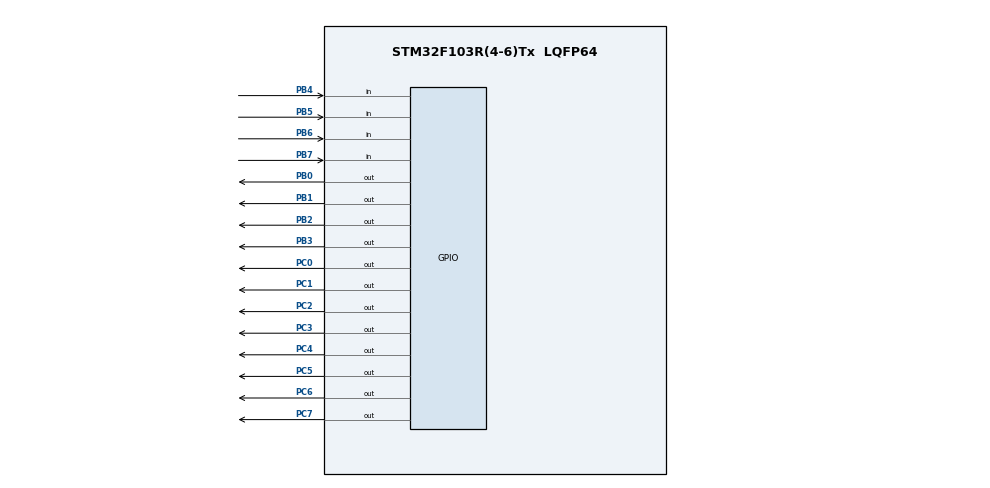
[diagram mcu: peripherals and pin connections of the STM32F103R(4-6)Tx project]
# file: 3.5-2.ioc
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Mcu.Family=STM32F1
Mcu.Name=STM32F103R(4-6)Tx
Mcu.Package=LQFP64
NVIC.PriorityGroup=NVIC_PRIORITYGROUP_4
PB0.PinState=GPIO_PIN_SET
PB0.Signal=GPIO_Output
PB1.PinState=GPIO_PIN_SET
PB1.Signal=GPIO_Output
PB2.PinState=GPIO_PIN_SET
PB2.Signal=GPIO_Output
PB3.PinState=GPIO_PIN_SET
PB3.Signal=GPIO_Output
PB4.Signal=GPIO_Input
PB5.Signal=GPIO_Input
PB6.Signal=GPIO_Input
PB7.Signal=GPIO_Input
PC0.PinState=GPIO_PIN_SET
PC0.Signal=GPIO_Output
PC1.PinState=GPIO_PIN_SET
PC1.Signal=GPIO_Output
PC2.PinState=GPIO_PIN_SET
PC2.Signal=GPIO_Output
PC3.PinState=GPIO_PIN_SET
PC3.Signal=GPIO_Output
PC4.PinState=GPIO_PIN_SET
PC4.Signal=GPIO_Output
PC5.PinState=GPIO_PIN_SET
PC5.Signal=GPIO_Output
PC6.PinState=GPIO_PIN_SET
PC6.Signal=GPIO_Output
PC7.PinState=GPIO_PIN_SET
PC7.Signal=GPIO_Output
ProjectManager.HeapSize=0x200
ProjectManager.StackSize=0x400
ProjectManager.TargetToolchain=STM32CubeIDE
RCC.APB1Freq_Value=8000000
RCC.APB2Freq_Value=8000000
VP_SYS_VS_ND.Mode=No_Debug
board=custom

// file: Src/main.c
/* USER CODE BEGIN Header */
/**
  ******************************************************************************
  * @file           : main.c
  * @brief          : Main program body
  ******************************************************************************
  * @attention
  *
  * <h2><center>&copy; Copyright (c) 2019 STMicroelectronics.
  * All rights reserved.</center></h2>
  *
  * This software component is licensed by ST under BSD 3-Clause license,
  * the "License"; You may not use this file except in compliance with the
  * License. You may obtain a copy of the License at:
  *                        opensource.org/licenses/BSD-3-Clause
  *
  ******************************************************************************
  */
/* USER CODE END Header */

#include "main.h"

/* USER CODE BEGIN PV */
//共阳极数码管0~f的段码
const uint8_t SegmentCodes[]=
{
0xc0,0xf9,0xa4,0xb0,0x99,
0x92,0x82,0xf8,0x80,0x90,
0x88,0x83,0xc6,0xa1,0x86,0x8e
};
/* USER CODE END PV */

void SystemClock_Config(void);
static void MX_GPIO_Init(void);

int main(void)
{
  /* USER CODE BEGIN 1 */
	int8_t i;  //循环变量
	uint8_t KeyValue=0x10;  //按下的键码
	uint8_t ReadPB;  //读取PB端口的值
  /* USER CODE END 1 */

  /* MCU Configuration--------------------------------------------------------*/

  /* Reset of all peripherals, Initializes the Flash interface and the Systick. */
  HAL_Init();

  /* Configure the system clock */
  SystemClock_Config();

  /* Initialize all configured peripherals */
  MX_GPIO_Init();
  /* USER CODE BEGIN 2 */
  LL_GPIO_WriteOutputPort(GPIOC,0xff);
  /* USER CODE END 2 */

  /* Infinite loop */
  /* USER CODE BEGIN WHILE */
  while (1)
  {
	  for(i=0;i<4;i++)
	  {
		  LL_GPIO_WriteOutputPort(GPIOB,(0xfe<<i)|(0xfe>>(8-i)));
		  ReadPB=LL_GPIO_ReadInputPort(GPIOB);
		  if((ReadPB & 0xf0) != 0xf0)
		  {
			  HAL_Delay(20);
			  ReadPB=LL_GPIO_ReadInputPort(GPIOB);
			  if((ReadPB & 0xf0) != 0xf0)
			  {
				  switch(ReadPB & 0xf0)
				  {
				  case 0xe0:KeyValue=4*i  ;break;
				  case 0xd0:KeyValue=4*i+1;break;
				  case 0xb0:KeyValue=4*i+2;break;
				  case 0x70:KeyValue=4*i+3;break;
				  default:;
				  }
			  }
			  do
				  ReadPB=LL_GPIO_ReadInputPort(GPIOB);
			  while((ReadPB & 0xf0) != 0xf0);
			  HAL_Delay(20);
		  }
	  }
	  if(KeyValue>=0 && KeyValue<=0xf)
		  LL_GPIO_WriteOutputPort(GPIOC,SegmentCodes[KeyValue]);
    /* USER CODE END WHILE */

  }
}

void SystemClock_Config(void)
{
  RCC_OscInitTypeDef RCC_OscInitStruct = {0};
  RCC_ClkInitTypeDef RCC_ClkInitStruct = {0};

  /** Initializes the CPU, AHB and APB busses clocks
  */
  RCC_OscInitStruct.OscillatorType = RCC_OSCILLATORTYPE_HSI;
  RCC_OscInitStruct.HSIState = RCC_HSI_ON;
  RCC_OscInitStruct.HSICalibrationValue = RCC_HSICALIBRATION_DEFAULT;
  RCC_OscInitStruct.PLL.PLLState = RCC_PLL_NONE;
  if (HAL_RCC_OscConfig(&RCC_OscInitStruct) != HAL_OK)
  {
    Error_Handler();
  }
  /** Initializes the CPU, AHB and APB busses clocks
  */
  RCC_ClkInitStruct.ClockType = RCC_CLOCKTYPE_HCLK|RCC_CLOCKTYPE_SYSCLK
                              |RCC_CLOCKTYPE_PCLK1|RCC_CLOCKTYPE_PCLK2;
  RCC_ClkInitStruct.SYSCLKSource = RCC_SYSCLKSOURCE_HSI;
  RCC_ClkInitStruct.AHBCLKDivider = RCC_SYSCLK_DIV1;
  RCC_ClkInitStruct.APB1CLKDivider = RCC_HCLK_DIV1;
  RCC_ClkInitStruct.APB2CLKDivider = RCC_HCLK_DIV1;

  if (HAL_RCC_ClockConfig(&RCC_ClkInitStruct, FLASH_LATENCY_0) != HAL_OK)
  {
    Error_Handler();
  }
}

static void MX_GPIO_Init(void)
{
  LL_GPIO_InitTypeDef GPIO_InitStruct = {0};

  /* GPIO Ports Clock Enable */
  LL_APB2_GRP1_EnableClock(LL_APB2_GRP1_PERIPH_GPIOC);
  LL_APB2_GRP1_EnableClock(LL_APB2_GRP1_PERIPH_GPIOB);

  /**/
  LL_GPIO_SetOutputPin(GPIOC, LL_GPIO_PIN_0|LL_GPIO_PIN_1|LL_GPIO_PIN_2|LL_GPIO_PIN_3
                          |LL_GPIO_PIN_4|LL_GPIO_PIN_5|LL_GPIO_PIN_6|LL_GPIO_PIN_7);

  /**/
  LL_GPIO_SetOutputPin(GPIOB, LL_GPIO_PIN_0|LL_GPIO_PIN_1|LL_GPIO_PIN_2|LL_GPIO_PIN_3);

  /**/
  GPIO_InitStruct.Pin = LL_GPIO_PIN_0|LL_GPIO_PIN_1|LL_GPIO_PIN_2|LL_GPIO_PIN_3
                          |LL_GPIO_PIN_4|LL_GPIO_PIN_5|LL_GPIO_PIN_6|LL_GPIO_PIN_7;
  GPIO_InitStruct.Mode = LL_GPIO_MODE_OUTPUT;
  GPIO_InitStruct.Speed = LL_GPIO_SPEED_FREQ_LOW;
  GPIO_InitStruct.OutputType = LL_GPIO_OUTPUT_PUSHPULL;
  LL_GPIO_Init(GPIOC, &GPIO_InitStruct);

  /**/
  GPIO_InitStruct.Pin = LL_GPIO_PIN_0|LL_GPIO_PIN_1|LL_GPIO_PIN_2|LL_GPIO_PIN_3;
  GPIO_InitStruct.Mode = LL_GPIO_MODE_OUTPUT;
  GPIO_InitStruct.Speed = LL_GPIO_SPEED_FREQ_LOW;
  GPIO_InitStruct.OutputType = LL_GPIO_OUTPUT_PUSHPULL;
  LL_GPIO_Init(GPIOB, &GPIO_InitStruct);

  /**/
  GPIO_InitStruct.Pin = LL_GPIO_PIN_4|LL_GPIO_PIN_5|LL_GPIO_PIN_6|LL_GPIO_PIN_7;
  GPIO_InitStruct.Mode = LL_GPIO_MODE_FLOATING;
  LL_GPIO_Init(GPIOB, &GPIO_InitStruct);

}

void Error_Handler(void)
{
}

/************************ (C) COPYRIGHT STMicroelectronics *****END OF FILE****/
